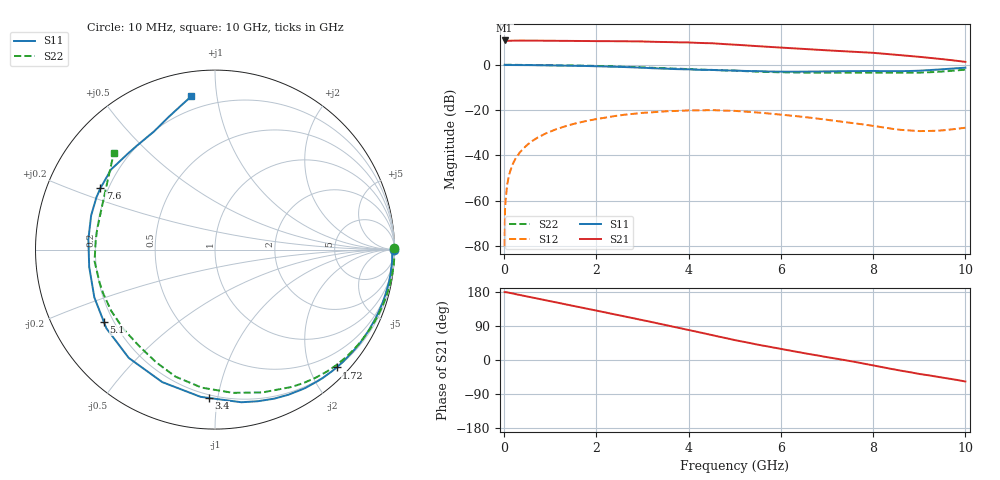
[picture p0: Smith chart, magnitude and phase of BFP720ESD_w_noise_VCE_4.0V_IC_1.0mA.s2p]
! Infineon Technologies  Discrete & RF Semiconductors
! BFP720ESD
! VCE =  4.0 V,  IC =  1.0 mA
! Common Emitter S-Parameters:  Jan 2016
# GHz  S  MA  R  50
!  f  S11  S21  S12  S22
! GHz  MAG  ANG  MAG  ANG  MAG  ANG  MAG  ANG
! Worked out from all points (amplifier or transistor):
!   233 points, 10 MHz to 10 GHz, reference 50 ohm
!   highest |S21| = 10.7 dB at 10 MHz (marker M1)
!   |S21| within 3 dB of that: start of sweep to 5.882 GHz
!   unconditionally stable (mu >= 1): 7.601 GHz to 9.82 GHz
!   at 200 MHz: K = 0.03, MSG = 27.0 dB, |S12| = -43.2 dB
!   at 1.74 GHz: K = 0.15, MSG = 17.7 dB, |S12| = -25.0 dB
!   at 10 GHz: K = 0.70, MSG = 14.5 dB, |S12| = -27.8 dB
!   lowest NFmin = 0.56 dB at 450 MHz
!   S11 on the Smith chart (normalised r, x): 10 MHz: open; 1.72 GHz: 0.21, -2.45; 3.4 GHz: 0.18, -0.94; 5.1 GHz: 0.16, -0.29; 7.6 GHz: 0.17, +0.24; 10 GHz: 0.13, +0.85
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0.01  0.9988 0.0  3.439 179.1  0.0001 -94.7  1 0.4
0.02  0.9893 -0.5  3.374 179.3  0.0007 84.5  0.9965 -0.1
0.06  0.9871 -1.3  3.386 178.4  0.002 86.2  0.9997 -0.9
0.105  0.988 -2.7  3.409 177.5  0.0037 84.5  1 -2.0
0.24  0.9871 -5.9  3.413 174.0  0.0083 84.1  0.9992 -4.6
0.44  0.9855 -11.0  3.424 169.1  0.0151 80.2  0.9963 -8.5
0.72  0.9789 -18.1  3.423 162.1  0.0246 74.2  0.9907 -14.0
1.2  0.9638 -30.5  3.393 150.2  0.0402 64.1  0.9769 -23.5
1.68  0.9451 -43.1  3.355 138.2  0.0546 53.7  0.9586 -33.0
1.72  0.9434 -44.1  3.349 137.2  0.0558 52.9  0.9569 -33.8
2.6  0.8937 -68.3  3.303 115.5  0.0789 34.1  0.9073 -52.0
3  0.8631 -80.2  3.266 105.2  0.0871 25.2  0.877 -60.7
3.4  0.8271 -92.4  3.192 94.8  0.0925 16.3  0.8438 -69.3
4  0.7946 -111.7  3.11 79.4  0.0987 3.6  0.8043 -82.9
4.5  0.7715 -128.5  2.987 65.7  0.1002 -7.6  0.7727 -95.5
5.1  0.7389 -146.9  2.739 50.2  0.0946 -20.3  0.7326 -109.3
6  0.7075 -172.2  2.401 29.1  0.0798 -35.6  0.6835 -128.3
6.8  0.7097 168.8  2.137 11.9  0.065 -43.4  0.6704 -145.3
7.6  0.7243 151.8  1.934 -4.9  0.0512 -46.3  0.669 -163.9
8.4  0.7221 132.1  1.694 -23.6  0.0389 -41.6  0.6666 175.4
9  0.74 117.5  1.498 -36.8  0.0345 -28.9  0.672 160.3
10  0.8637 98.8  1.159 -56.7  0.0409 -11.3  0.7803 136.2
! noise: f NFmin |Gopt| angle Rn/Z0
0.45  0.56  0.81  6  0.42
0.9  0.59  0.81  16  0.4
1.9  0.79  0.7  38  0.38
2.4  0.92  0.68  50  0.39
5.5  1.52  0.49  133  0.12
10  3.38  0.7  -109  0.85
